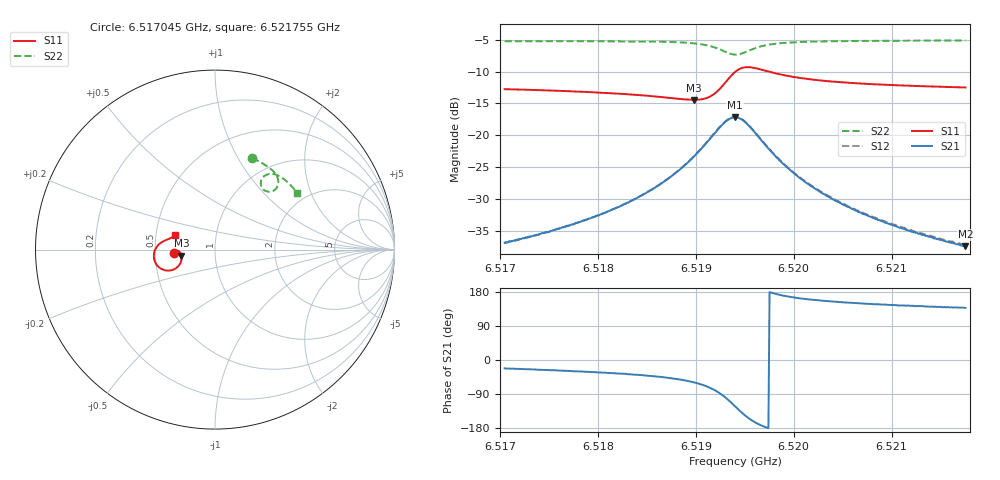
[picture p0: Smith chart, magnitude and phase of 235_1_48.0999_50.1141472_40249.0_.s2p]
#  HZ  S  RI  R  50.00
! Rohde & Schwarz Vector Network Analyzer
! Rohde-Schwarz,ZNB20-2Port,1311601062101988,3.16
! Created: UTC 12/23/2023, 3:58:11 AM
! freq[Hz]  re:S11  im:S11  re:S21  im:S21  re:S12  im:S12  re:S22  im:S22
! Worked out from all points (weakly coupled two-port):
!   401 points, 6.517045 GHz to 6.521755 GHz, reference 50 ohm
!   highest |S21| = -17.17 dB at 6.5194 GHz (marker M1); lowest = -37.4 dB at 6.521755 GHz (marker M2)
!   lowest |S11| = -14.4 dB at 6.518976 GHz (marker M3), VSWR 1.47, Z = 34.2 - j2.41 ohm
!   |S11| at or under -10 dB: start of sweep to 6.519404 GHz; 6.519748 GHz to end of sweep
!   |S22| runs from -7.3 to -5.1 dB; largest |S21 - S12| = 0.0042
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6.5170447e9  -0.2299 -0.0163  0.0132 -0.00535  0.0134 -0.00499  0.2064 0.5081
6.5174922e9  -0.225 -0.00976  0.0155 -0.00777  0.0158 -0.0073  0.2393 0.494
6.5178337e9  -0.2199 -0.00608  0.0182 -0.0107  0.0185 -0.01  0.2645 0.4807
6.5182929e9  -0.2104 -0.00421  0.0235 -0.0177  0.024 -0.0169  0.299 0.4587
6.5186226e9  -0.2004 -0.00901  0.029 -0.0283  0.0302 -0.0275  0.3246 0.4366
6.518811e9  -0.193 -0.0177  0.0331 -0.04  0.0346 -0.0391  0.3392 0.4184
6.5189758e9  -0.1869 -0.034  0.0351 -0.0579  0.0371 -0.0571  0.35 0.3957
6.5190818e9  -0.1861 -0.0528  0.0325 -0.0759  0.0351 -0.0756  0.3529 0.3751
6.519176e9  -0.1936 -0.077  0.022 -0.0982  0.0251 -0.0981  0.3478 0.3521
6.5193055e9  -0.2365 -0.1132  -0.0217 -0.1267  -0.0181 -0.1283  0.3146 0.3237
6.5193526e9  -0.2644 -0.1171  -0.0474 -0.1272  -0.0441 -0.1295  0.2945 0.3228
6.5193997e9  -0.2944 -0.1095  -0.0735 -0.1174  -0.0706 -0.1204  0.2746 0.3313
6.5194468e9  -0.3196 -0.091  -0.0938 -0.0983  -0.0919 -0.1018  0.2604 0.3473
6.5195057e9  -0.3374 -0.0592  -0.1061 -0.0688  -0.1049 -0.0726  0.2548 0.3716
6.5196117e9  -0.3365 -0.00868  -0.0999 -0.0257  -0.1 -0.0289  0.2692 0.4049
6.5197059e9  -0.322 0.0184  -0.0844 -0.00492  -0.0851 -0.00737  0.2897 0.418
6.5199296e9  -0.2903 0.0451  -0.0551 0.0116  -0.0559 0.0102  0.3296 0.4202
6.5201886e9  -0.2686 0.0551  -0.0367 0.0141  -0.0376 0.0132  0.36 0.4082
6.5205183e9  -0.2527 0.0615  -0.0249 0.0131  -0.0258 0.0128  0.3878 0.3898
6.5209775e9  -0.2391 0.0682  -0.0166 0.0115  -0.0171 0.0111  0.4178 0.3625
6.5213308e9  -0.2316 0.0731  -0.0129 0.0102  -0.0133 0.00998  0.4376 0.3412
6.5217547e9  -0.2241 0.0789  -0.00993 0.00908  -0.0104 0.00904  0.4585 0.3147
